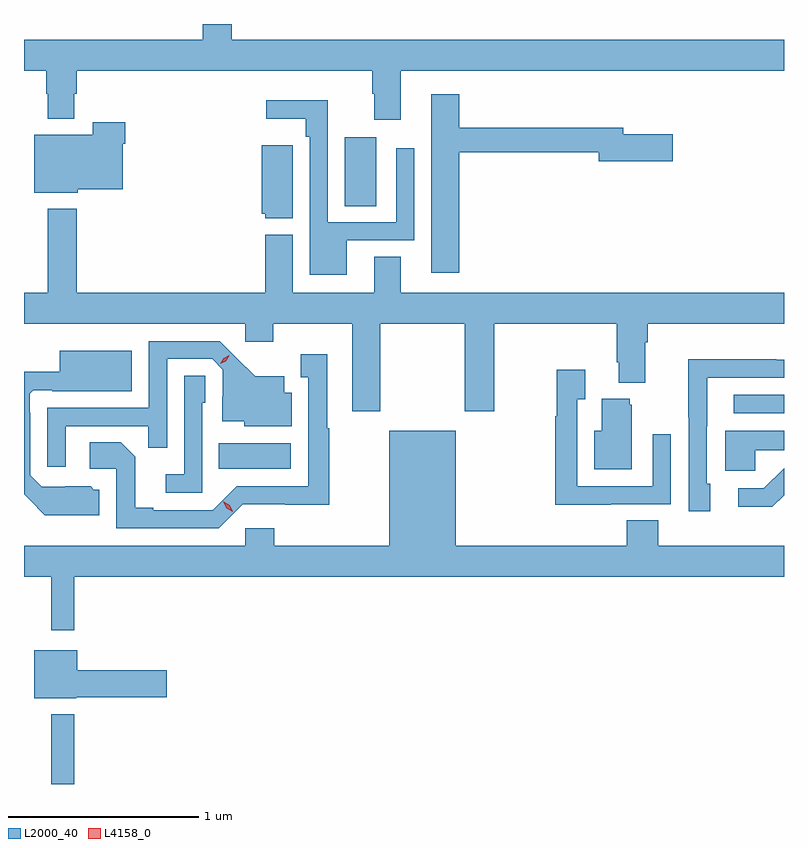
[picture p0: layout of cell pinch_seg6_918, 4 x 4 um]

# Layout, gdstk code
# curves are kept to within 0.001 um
import gdstk
lib = gdstk.Library(unit=1e-6, precision=1e-09)
def R(c, l, rs):  # rectangles x0, y0, x1, y1
    for r in rs: c.add(gdstk.rectangle(r[:2], r[2:], *l))
def P(c, l, *ps):  # polygons
    for p in ps: c.add(gdstk.Polygon(p, *l))
L2000_40 = (2000, 40)
L4158_0 = (4158, 0)

pinch_seg6_918 = lib.new_cell('pinch_seg6_918')
R(pinch_seg6_918, L2000_40, [(360.707,938.254,360.829,938.62), (361.588,939.914,361.969,940.048), (364.299,940.206,364.564,940.302), (362.252,941.296,362.419,941.659)])
P(pinch_seg6_918, L2000_40, [(362.548,942.008),(364.564,942.008),(364.564,942.172),(361.657,942.172),(361.657,942.254),(361.505,942.254),(361.505,942.172),(360.564,942.172),(360.564,942.008),(360.682,942.008),(360.682,941.888),(360.689,941.888),(360.689,941.756),(360.829,941.756),(360.829,941.888),(360.842,941.888),(360.842,942.008),(362.396,942.008),(362.396,941.888),(362.408,941.888),(362.408,941.751),(362.548,941.751)],
  [(362.855,941.578),(363.59,941.578),(363.59,941.531),(363.979,941.531),(363.979,941.673),(363.718,941.673),(363.718,941.707),(362.855,941.707),(362.855,941.884),(362.708,941.884),(362.708,940.944),(362.855,940.944)],
  [(362.263,941.115),(362.619,941.115),(362.619,941.599),(362.523,941.599),(362.523,941.211),(362.163,941.211),(362.163,941.854),(361.839,941.854),(361.839,941.756),(362.047,941.756),(362.047,941.66),(362.067,941.66),(362.067,940.934),(362.263,940.934)],
  [(360.846,941.384),(361.084,941.384),(361.084,941.624),(361.097,941.624),(361.097,941.737),(360.926,941.737),(360.926,941.671),(360.617,941.671),(360.617,941.366),(360.846,941.366)],
  [(361.978,941.617),(361.814,941.617),(361.814,941.256),(361.833,941.256),(361.833,941.231),(361.978,941.231)],
  [(362.439,940.676),(362.884,940.676),(362.884,940.215),(363.039,940.215),(363.039,940.676),(363.683,940.676),(363.683,940.474),(363.695,940.474),(363.695,940.367),(363.835,940.367),(363.835,940.58),(363.848,940.58),(363.848,940.676),(364.564,940.676),(364.564,940.84),(362.548,940.84),(362.548,941.03),(362.408,941.03),(362.408,940.84),(361.978,940.84),(361.978,941.146),(361.835,941.146),(361.835,940.84),(360.842,940.84),(360.842,941.281),(360.689,941.281),(360.689,940.84),(360.564,940.84),(360.564,940.676),(361.728,940.676),(361.728,940.581),(361.875,940.581),(361.875,940.676),(362.291,940.676),(362.291,940.215),(362.439,940.215)],
  [(360.783,940.137),(361.219,940.137),(361.219,940.024),(361.317,940.024),(361.317,940.491),(361.554,940.491),(361.611,940.434),(361.611,940.292),(361.607,940.292),(361.607,940.163),(361.722,940.163),(361.722,940.136),(361.972,940.136),(361.972,940.312),(361.933,940.312),(361.933,940.399),(361.781,940.399),(361.594,940.584),(361.221,940.584),(361.221,940.233),(360.687,940.233),(360.687,939.924),(360.783,939.924)],
  [(360.961,939.804),(360.93,939.804),(360.914,939.82),(360.657,939.819),(360.597,939.879),(360.597,940.208),(360.594,940.208),(360.594,940.308),(360.612,940.326),(360.712,940.326),(360.712,940.322),(361.132,940.322),(361.132,940.534),(360.752,940.534),(360.752,940.423),(360.564,940.423),(360.564,939.778),(360.673,939.668),(360.961,939.668)],
  [(361.716,939.726),(362.171,939.725),(362.171,940.127),(362.161,940.127),(362.161,940.516),(362.021,940.516),(362.021,940.395),(362.06,940.395),(362.06,939.822),(361.683,939.822),(361.557,939.696),(361.243,939.696),(361.243,939.709),(361.149,939.709),(361.149,939.976),(361.073,940.052),(360.909,940.052),(360.909,939.912),(361.05,939.912),(361.05,939.6),(361.59,939.6)],
  [(364.177,939.834),(364.158,939.834),(364.158,940.138),(364.159,940.138),(364.159,940.392),(364.564,940.392),(364.564,940.488),(364.523,940.488),(364.523,940.49),(364.06,940.49),(364.06,940.183),(364.062,940.183),(364.062,939.69),(364.177,939.69)],
  [(363.653,939.726),(363.969,939.726),(363.969,940.096),(363.873,940.096),(363.873,939.822),(363.477,939.822),(363.477,940.279),(363.517,940.279),(363.517,940.435),(363.369,940.435),(363.369,940.19),(363.361,940.19),(363.361,939.725),(363.653,939.725)],
  [(361.503,940.26),(361.518,940.26),(361.518,940.403),(361.407,940.403),(361.407,939.883),(361.311,939.883),(361.311,939.786),(361.503,939.786)],
  [(363.763,940.251),(363.752,940.251),(363.752,940.282),(363.605,940.282),(363.605,940.114),(363.566,940.114),(363.566,939.911),(363.763,939.911)],
  [(360.829,939.344),(364.564,939.344),(364.564,939.508),(363.902,939.508),(363.902,939.641),(363.737,939.641),(363.737,939.508),(362.836,939.508),(362.836,940.114),(362.486,940.114),(362.486,939.508),(361.88,939.508),(361.88,939.601),(361.728,939.601),(361.728,939.508),(360.564,939.508),(360.564,939.344),(360.707,939.344),(360.707,939.063),(360.829,939.063)],
  [(364.413,940.01),(364.564,940.01),(364.564,940.114),(364.256,940.114),(364.256,939.902),(364.413,939.902)],
  [(364.564,939.775),(364.564,939.917),(364.457,939.81),(364.323,939.81),(364.323,939.713),(364.501,939.713)],
  [(360.84,938.711),(361.315,938.711),(361.315,938.853),(360.844,938.853),(360.844,938.959),(360.617,938.959),(360.617,938.705),(360.84,938.705)])
P(pinch_seg6_918, L4158_0, [(361.663,939.687),(361.631,939.706),(361.613,939.739),(361.613,939.739),(361.614,939.739),(361.646,939.72),(361.663,939.687),(361.663,939.687)],
  [(361.596,940.466),(361.596,940.466),(361.614,940.495),(361.645,940.51),(361.645,940.51),(361.645,940.509),(361.627,940.48),(361.596,940.466)])

lib.write_gds('pinch_seg6_918.gds')
